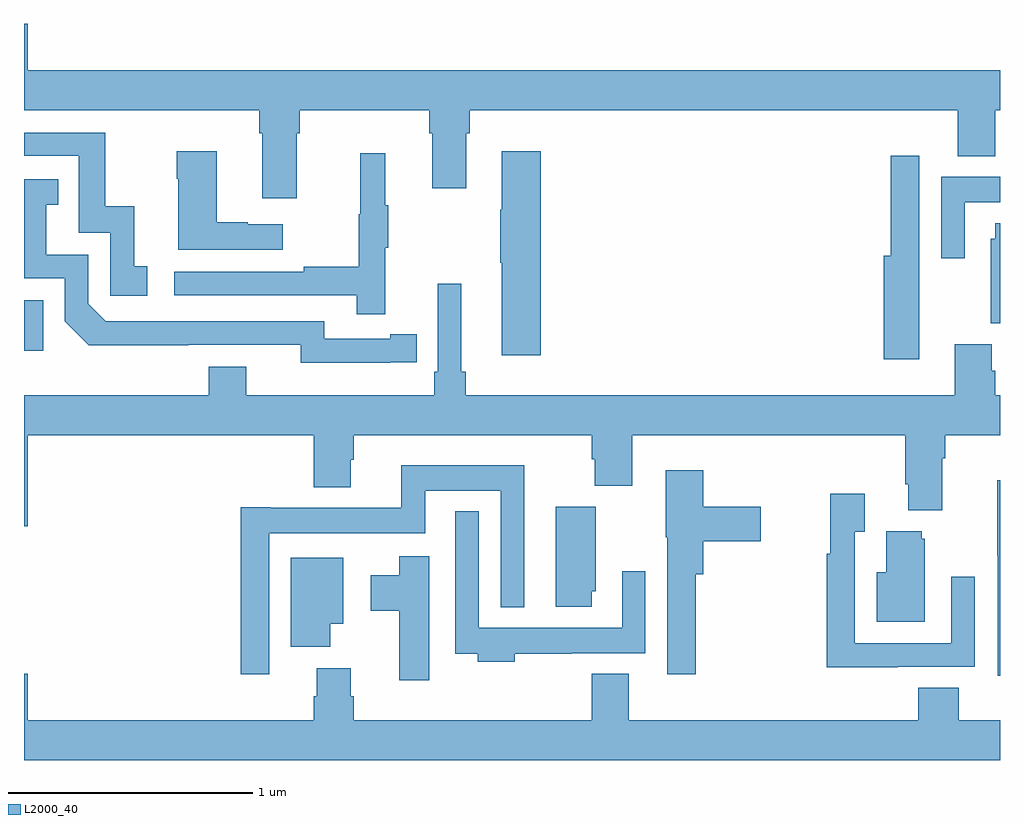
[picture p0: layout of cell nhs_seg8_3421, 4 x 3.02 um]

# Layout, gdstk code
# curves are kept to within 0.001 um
import gdstk
lib = gdstk.Library(unit=1e-6, precision=1e-09)
def R(c, l, rs):  # rectangles x0, y0, x1, y1
    for r in rs: c.add(gdstk.rectangle(r[:2], r[2:], *l))
def P(c, l, *ps):  # polygons
    for p in ps: c.add(gdstk.Polygon(p, *l))
L2000_40 = (2000, 40)

nhs_seg8_3421 = lib.new_cell('nhs_seg8_3421')
R(nhs_seg8_3421, L2000_40, [(321,1162.134,321.078,1162.341)])
P(nhs_seg8_3421, L2000_40, [(322.117,1163.024),(322.13,1163.024),(322.13,1163.12),(322.661,1163.12),(322.661,1163.024),(322.673,1163.024),(322.673,1162.8),(322.813,1162.8),(322.813,1163.024),(322.826,1163.024),(322.826,1163.12),(324.827,1163.12),(324.827,1162.931),(324.98,1162.931),(324.98,1163.12),(325,1163.12),(325,1163.284),(321.016,1163.284),(321.016,1163.473),(321,1163.473),(321,1163.12),(321.965,1163.12),(321.965,1163.024),(321.977,1163.024),(321.977,1162.758),(322.117,1162.758)],
  [(321.505,1162.479),(321.452,1162.479),(321.452,1162.726),(321.334,1162.726),(321.334,1163.028),(321,1163.028),(321,1162.932),(321.225,1162.932),(321.225,1162.617),(321.354,1162.617),(321.354,1162.359),(321.505,1162.359)],
  [(322.06,1162.651),(321.917,1162.651),(321.917,1162.661),(321.79,1162.661),(321.79,1162.951),(321.625,1162.951),(321.625,1162.838),(321.632,1162.838),(321.632,1162.547),(322.06,1162.547)],
  [(323.117,1162.951),(322.958,1162.951),(322.958,1162.712),(322.951,1162.712),(322.951,1162.495),(322.958,1162.495),(322.958,1162.116),(323.117,1162.116)],
  [(322.481,1162.555),(322.492,1162.555),(322.492,1162.729),(322.481,1162.729),(322.481,1162.942),(322.378,1162.942),(322.378,1162.692),(322.371,1162.692),(322.371,1162.478),(322.147,1162.478),(322.147,1162.458),(321.615,1162.458),(321.615,1162.362),(322.363,1162.362),(322.363,1162.284),(322.481,1162.284)],
  [(324.67,1162.418),(324.669,1162.418),(324.669,1162.933),(324.553,1162.933),(324.553,1162.522),(324.524,1162.522),(324.524,1162.098),(324.67,1162.098)],
  [(324.855,1162.742),(325,1162.742),(325,1162.846),(324.759,1162.846),(324.759,1162.512),(324.855,1162.512)],
  [(322.502,1162.086),(322.61,1162.086),(322.61,1162.202),(322.502,1162.202),(322.502,1162.182),(322.23,1162.182),(322.23,1162.254),(321.336,1162.254),(321.264,1162.326),(321.264,1162.527),(321.091,1162.527),(321.091,1162.731),(321.14,1162.731),(321.14,1162.837),(321,1162.837),(321,1162.431),(321.168,1162.431),(321.168,1162.254),(321.266,1162.157),(322.134,1162.158),(322.134,1162.085)],
  [(325,1162.657),(324.98,1162.657),(324.98,1162.593),(324.962,1162.593),(324.962,1162.246),(325,1162.246)],
  [(321.016,1161.788),(322.187,1161.788),(322.187,1161.575),(322.339,1161.575),(322.339,1161.687),(322.352,1161.687),(322.352,1161.788),(323.327,1161.788),(323.327,1161.689),(323.339,1161.689),(323.339,1161.58),(323.492,1161.58),(323.492,1161.788),(324.611,1161.788),(324.611,1161.586),(324.623,1161.586),(324.623,1161.479),(324.763,1161.479),(324.763,1161.692),(324.776,1161.692),(324.776,1161.788),(325,1161.788),(325,1161.952),(324.98,1161.952),(324.98,1162.052),(324.967,1162.052),(324.967,1162.161),(324.815,1162.161),(324.815,1161.952),(322.811,1161.952),(322.811,1162.048),(322.792,1162.048),(322.792,1162.408),(322.695,1162.408),(322.695,1162.048),(322.682,1162.048),(322.682,1161.952),(321.91,1161.952),(321.91,1162.069),(321.758,1162.069),(321.758,1161.952),(321,1161.952),(321,1161.414),(321.016,1161.414)],
  [(322.005,1161.386),(322.644,1161.386),(322.644,1161.56),(322.953,1161.56),(322.953,1161.083),(323.05,1161.083),(323.05,1161.664),(322.547,1161.664),(322.547,1161.49),(322.012,1161.49),(322.012,1161.493),(321.889,1161.493),(321.889,1160.808),(322.005,1160.808)],
  [(323.753,1161.218),(323.783,1161.218),(323.783,1161.353),(324.019,1161.353),(324.019,1161.495),(323.783,1161.495),(323.783,1161.643),(323.63,1161.643),(323.63,1161.369),(323.637,1161.369),(323.637,1160.808),(323.753,1160.808)],
  [(325,1161.602),(324.988,1161.602),(324.988,1161.295),(324.99,1161.295),(324.99,1160.802),(325,1160.802)],
  [(324.581,1160.838),(324.897,1160.838),(324.897,1161.208),(324.801,1161.208),(324.801,1160.934),(324.405,1160.934),(324.405,1161.391),(324.445,1161.391),(324.445,1161.547),(324.304,1161.547),(324.304,1161.302),(324.289,1161.302),(324.289,1160.837),(324.581,1160.837)],
  [(323.326,1161.147),(323.344,1161.147),(323.344,1161.495),(323.18,1161.495),(323.18,1161.084),(323.326,1161.084)],
  [(323.012,1160.892),(323.243,1160.892),(323.243,1160.894),(323.547,1160.894),(323.547,1161.229),(323.451,1161.229),(323.451,1160.998),(322.863,1160.998),(322.863,1161.475),(322.767,1161.475),(322.767,1160.892),(322.859,1160.892),(322.859,1160.858),(323.012,1160.858)],
  [(324.691,1161.363),(324.68,1161.363),(324.68,1161.394),(324.533,1161.394),(324.533,1161.226),(324.494,1161.226),(324.494,1161.023),(324.691,1161.023)],
  [(322.66,1161.292),(322.538,1161.292),(322.538,1161.214),(322.421,1161.214),(322.421,1161.067),(322.538,1161.067),(322.538,1160.784),(322.66,1160.784)],
  [(322.255,1161.014),(322.309,1161.014),(322.309,1161.286),(322.094,1161.286),(322.094,1160.921),(322.255,1160.921)],
  [(325,1160.62),(324.83,1160.62),(324.83,1160.753),(324.665,1160.753),(324.665,1160.62),(323.479,1160.62),(323.479,1160.809),(323.327,1160.809),(323.327,1160.62),(322.352,1160.62),(322.352,1160.718),(322.339,1160.718),(322.339,1160.833),(322.199,1160.833),(322.199,1160.718),(322.187,1160.718),(322.187,1160.62),(321.016,1160.62),(321.016,1160.809),(321,1160.809),(321,1160.456),(325,1160.456)])

lib.write_gds('nhs_seg8_3421.gds')
